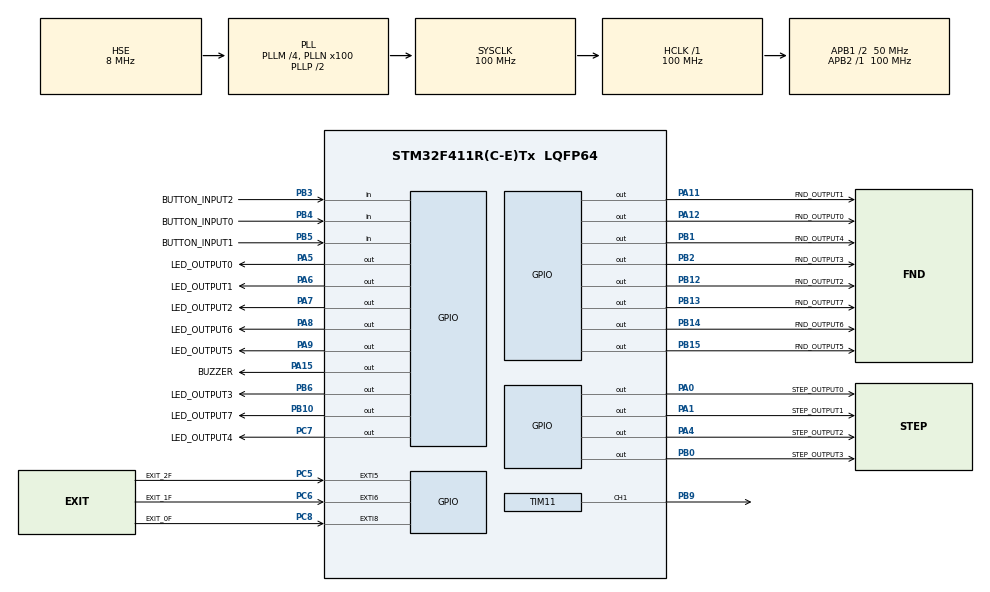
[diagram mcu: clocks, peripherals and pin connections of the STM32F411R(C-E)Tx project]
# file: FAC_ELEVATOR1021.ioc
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Mcu.Family=STM32F4
Mcu.Name=STM32F411R(C-E)Tx
Mcu.Package=LQFP64
NVIC.EXTI9_5_IRQn=true\:0\:0\:false\:false\:true\:true\:true\:true
NVIC.PriorityGroup=NVIC_PRIORITYGROUP_4
NVIC.TIM1_TRG_COM_TIM11_IRQn=true\:0\:0\:false\:false\:true\:true\:true\:true
NVIC.TIM1_UP_TIM10_IRQn=true\:0\:0\:false\:false\:true\:true\:true\:true
PA0-WKUP.GPIO_Label=STEP_OUTPUT0
PA0-WKUP.Signal=GPIO_Output
PA1.GPIO_Label=STEP_OUTPUT1
PA1.Signal=GPIO_Output
PA11.GPIO_Label=FND_OUTPUT1
PA11.Signal=GPIO_Output
PA12.GPIO_Label=FND_OUTPUT0
PA12.Signal=GPIO_Output
PA13.Mode=Serial_Wire
PA13.Signal=SYS_JTMS-SWDIO
PA14.Mode=Serial_Wire
PA14.Signal=SYS_JTCK-SWCLK
PA15.GPIO_Label=BUZZER
PA15.Signal=GPIO_Output
PA4.GPIO_Label=STEP_OUTPUT2
PA4.Signal=GPIO_Output
PA5.GPIO_Label=LED_OUTPUT0
PA5.Signal=GPIO_Output
PA6.GPIO_Label=LED_OUTPUT1
PA6.Signal=GPIO_Output
PA7.GPIO_Label=LED_OUTPUT2
PA7.Signal=GPIO_Output
PA8.GPIO_Label=LED_OUTPUT6
PA8.Signal=GPIO_Output
PA9.GPIO_Label=LED_OUTPUT5
PA9.Signal=GPIO_Output
PB0.GPIO_Label=STEP_OUTPUT3
PB0.Signal=GPIO_Output
PB1.GPIO_Label=FND_OUTPUT4
PB1.Signal=GPIO_Output
PB10.GPIO_Label=LED_OUTPUT7
PB10.Signal=GPIO_Output
PB12.GPIO_Label=FND_OUTPUT2
PB12.Signal=GPIO_Output
PB13.GPIO_Label=FND_OUTPUT7
PB13.Signal=GPIO_Output
PB14.GPIO_Label=FND_OUTPUT6
PB14.Signal=GPIO_Output
PB15.GPIO_Label=FND_OUTPUT5
PB15.Signal=GPIO_Output
PB2.GPIO_Label=FND_OUTPUT3
PB2.Signal=GPIO_Output
PB3.GPIO_Label=BUTTON_INPUT2
PB3.Signal=GPIO_Input
PB4.GPIO_Label=BUTTON_INPUT0
PB4.Signal=GPIO_Input
PB5.GPIO_Label=BUTTON_INPUT1
PB5.Signal=GPIO_Input
PB6.GPIO_Label=LED_OUTPUT3
PB6.Signal=GPIO_Output
PB9.Signal=S_TIM11_CH1
PC5.GPIO_Label=EXIT_2F
PC5.GPIO_ModeDefaultEXTI=GPIO_MODE_IT_RISING
PC5.Signal=GPXTI5
PC6.GPIO_Label=EXIT_1F
PC6.Signal=GPXTI6
PC7.GPIO_Label=LED_OUTPUT4
PC7.Signal=GPIO_Output
PC8.GPIO_Label=EXIT_0F
PC8.GPIO_ModeDefaultEXTI=GPIO_MODE_IT_RISING
PC8.Signal=GPXTI8
PH0\ -\ OSC_IN.Mode=HSE-External-Oscillator
PH0\ -\ OSC_IN.Signal=RCC_OSC_IN
PH1\ -\ OSC_OUT.Mode=HSE-External-Oscillator
PH1\ -\ OSC_OUT.Signal=RCC_OSC_OUT
ProjectManager.HeapSize=0x200
ProjectManager.StackSize=0x400
ProjectManager.TargetToolchain=STM32CubeIDE
RCC.48MHZClocksFreq_Value=50000000
RCC.AHBFreq_Value=100000000
RCC.APB1CLKDivider=RCC_HCLK_DIV2
RCC.APB1Freq_Value=50000000
RCC.APB1TimFreq_Value=100000000
RCC.APB2Freq_Value=100000000
RCC.APB2TimFreq_Value=100000000
RCC.CortexFreq_Value=100000000
RCC.HCLKFreq_Value=100000000
RCC.HSE_VALUE=8000000
RCC.HSI_VALUE=16000000
RCC.LSE_VALUE=32768
RCC.PLLM=4
RCC.PLLN=100
RCC.PLLSourceVirtual=RCC_PLLSOURCE_HSE
RCC.SYSCLKFreq_VALUE=100000000
RCC.SYSCLKSource=RCC_SYSCLKSOURCE_PLLCLK
RCC.VCOOutputFreq_Value=200000000
SH.S_TIM11_CH1.0=TIM11_CH1,PWM Generation1 CH1
TIM10.Period=100-1
TIM10.Prescaler=1000-1
TIM11.Channel=TIM_CHANNEL_1
TIM11.Period=2000-1
TIM11.Prescaler=1000-1
VP_TIM10_VS_ClockSourceINT.Mode=Enable_Timer
VP_TIM11_VS_ClockSourceINT.Mode=Enable_Timer
board=custom

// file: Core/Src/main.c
/* USER CODE BEGIN Header */
/**
 ******************************************************************************
 * @file           : main.c
 * @brief          : Main program body
 ******************************************************************************
 * @attention
 *
 * Copyright (c) 2025 STMicroelectronics.
 * All rights reserved.
 *
 * This software is licensed under terms that can be found in the LICENSE file
 * in the root directory of this software component.
 * If no LICENSE file comes with this software, it is provided AS-IS.
 *
 ******************************************************************************
 */
/* USER CODE END Header */
#include "main.h"
#include "tim.h"
#include "gpio.h"

/* USER CODE BEGIN Includes */

#include "elevator.h"

/* USER CODE END Includes */

/* USER CODE BEGIN PV */
static volatile uint32_t elevatorTickPending = 0;

/* USER CODE END PV */

void SystemClock_Config(void);
/* USER CODE BEGIN PFP */

void HAL_TIM_PeriodElapsedCallback(TIM_HandleTypeDef *htim)
{
  if (htim->Instance == TIM10) {
      ++elevatorTickPending;   // 1ms마다 버튼/모터/LED/포토센서 폴링
  }
}

/* USER CODE END PFP */

int main(void)
{

  /* MCU Configuration--------------------------------------------------------*/

  /* Reset of all peripherals, Initializes the Flash interface and the Systick. */
  HAL_Init();

  /* Configure the system clock */
  SystemClock_Config();

  /* Initialize all configured peripherals */
  MX_GPIO_Init();
  MX_TIM10_Init();
  MX_TIM11_Init();
  /* USER CODE BEGIN 2 */

  elevatorInit(&htim10);
  HAL_TIM_PWM_Start(&htim11, TIM_CHANNEL_1);

  /* USER CODE END 2 */

  /* Infinite loop */
  /* USER CODE BEGIN WHILE */
  while (1)
    {
      while (elevatorTickPending)
	{
	  __disable_irq();
	  if (elevatorTickPending)
	    {
	      --elevatorTickPending;
	      __enable_irq();
	      startingElevatorSystem();  /* 인터럽트 밖에서 주기 처리 */
	    }
	  else
	    {
	      __enable_irq();
	    }
	}

      __WFI();  /* 다음 인터럽트까지 대기하여 불필요한 CPU 사용 방지 */
    }
  /* USER CODE END WHILE */

}

void SystemClock_Config(void)
{
  RCC_OscInitTypeDef RCC_OscInitStruct = {0};
  RCC_ClkInitTypeDef RCC_ClkInitStruct = {0};

  /** Configure the main internal regulator output voltage
   */
  __HAL_RCC_PWR_CLK_ENABLE();
  __HAL_PWR_VOLTAGESCALING_CONFIG(PWR_REGULATOR_VOLTAGE_SCALE1);

  /** Initializes the RCC Oscillators according to the specified parameters
   * in the RCC_OscInitTypeDef structure.
   */
  RCC_OscInitStruct.OscillatorType = RCC_OSCILLATORTYPE_HSE;
  RCC_OscInitStruct.HSEState = RCC_HSE_ON;
  RCC_OscInitStruct.PLL.PLLState = RCC_PLL_ON;
  RCC_OscInitStruct.PLL.PLLSource = RCC_PLLSOURCE_HSE;
  RCC_OscInitStruct.PLL.PLLM = 4;
  RCC_OscInitStruct.PLL.PLLN = 100;
  RCC_OscInitStruct.PLL.PLLP = RCC_PLLP_DIV2;
  RCC_OscInitStruct.PLL.PLLQ = 4;
  if (HAL_RCC_OscConfig(&RCC_OscInitStruct) != HAL_OK)
    {
      Error_Handler();
    }

  /** Initializes the CPU, AHB and APB buses clocks
   */
  RCC_ClkInitStruct.ClockType = RCC_CLOCKTYPE_HCLK|RCC_CLOCKTYPE_SYSCLK
      |RCC_CLOCKTYPE_PCLK1|RCC_CLOCKTYPE_PCLK2;
  RCC_ClkInitStruct.SYSCLKSource = RCC_SYSCLKSOURCE_PLLCLK;
  RCC_ClkInitStruct.AHBCLKDivider = RCC_SYSCLK_DIV1;
  RCC_ClkInitStruct.APB1CLKDivider = RCC_HCLK_DIV2;
  RCC_ClkInitStruct.APB2CLKDivider = RCC_HCLK_DIV1;

  if (HAL_RCC_ClockConfig(&RCC_ClkInitStruct, FLASH_LATENCY_3) != HAL_OK)
    {
      Error_Handler();
    }
}

void Error_Handler(void)
{
  __disable_irq();
  while (1)
    {
    }
}
